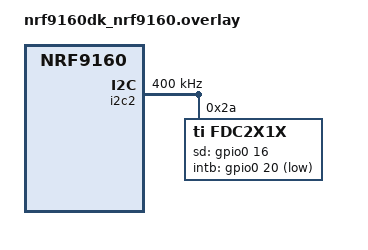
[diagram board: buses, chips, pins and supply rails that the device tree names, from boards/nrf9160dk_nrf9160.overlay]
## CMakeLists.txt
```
#
#  Copyright (c) 2020 arithmetics.io
#
#  SPDX-License-Identifier: Apache-2.0

cmake_minimum_required(VERSION 3.13.1)
find_package(Zephyr HINTS $ENV{ZEPHYR_BASE})
project(fdc2x1x)

FILE(GLOB app_sources src/*.c)
target_sources(app PRIVATE ${app_sources})
```

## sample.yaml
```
sample:
  name: fdc2x1x sample
  description: FDC2X1X sample application
tests:
  sample.sensor.fdc2x1x:
    harness: sensor
    tags: sensors
    platform_allow: nrf9160dk_nrf9160
    integration_platforms:
      - nrf9160dk_nrf9160
```

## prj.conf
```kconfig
CONFIG_LOG=y
CONFIG_I2C=y
CONFIG_SENSOR=y
CONFIG_PM_DEVICE=n
CONFIG_NEWLIB_LIBC=y
CONFIG_NEWLIB_LIBC_FLOAT_PRINTF=y

CONFIG_FDC2X1X=y
CONFIG_FDC2X1X_TRIGGER_GLOBAL_THREAD=n
```

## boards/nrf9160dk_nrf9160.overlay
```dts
/*
 * Copyright (c) 2020 arithmetics.io
 *
 * SPDX-License-Identifier: Apache-2.0
 */

&i2c2 {
	clock-frequency = <I2C_BITRATE_FAST>;
	fdc2x1x@2A {
		compatible = "ti,fdc2x1x";
		reg = <0x2A>;
		label = "FDC2X1X";
		sd-gpios = <&gpio0 16 GPIO_ACTIVE_HIGH>;
		intb-gpios = <&gpio0 20 GPIO_ACTIVE_LOW>;

		autoscan;
		deglitch = <5>;
		fref = <43360>;

		channel_0 {
			rcount = <7499>;
			settlecount = <48>;
			fref-divider = <1>;
			idrive = <10>;
			fin-sel = <2>;
			inductance = < 18 >;
		};

		channel_1 {
			rcount = <7499>;
			settlecount = <48>;
			fref-divider = <1>;
			idrive = <10>;
			fin-sel = <2>;
			inductance = <18>;
		};
	};
};
```

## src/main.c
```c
/*
 * Copyright (c) 2020 arithmetics.io
 *
 * SPDX-License-Identifier: Apache-2.0
 */

#include <zephyr.h>
#include <device.h>
#include <sys/util.h>
#include <drivers/sensor.h>
#include "drivers/sensor/fdc2x1x.h"
#include <stdio.h>

#define CH_BUF_INIT(m)          {},

K_SEM_DEFINE(sem, 0, 1);

#ifdef CONFIG_FDC2X1X_TRIGGER
static void trigger_handler(const struct device *dev,
			    struct sensor_trigger *trigger)
{
	switch (trigger->type) {
	case SENSOR_TRIG_DATA_READY:
		if (sensor_sample_fetch(dev)) {
			printk("Sample fetch error\n");
			return;
		}
		k_sem_give(&sem);
		break;
	default:
		printk("Unknown trigger\n");
	}
}
#endif

#ifdef CONFIG_PM_DEVICE
static void pm_cb(const struct device *dev,
		  int status,
		  uint32_t *state,
		  void *arg)
{
	ARG_UNUSED(dev);
	ARG_UNUSED(arg);

	switch (*state) {
	case PM_DEVICE_STATE_ACTIVE:
		printk("Enter ACTIVE_STATE ");
		break;
	case PM_DEVICE_STATE_LOW_POWER:
		printk("Enter LOW_POWER_STATE ");
		break;
	case PM_DEVICE_STATE_OFF:
		printk("Enter OFF_STATE ");
		break;
	}

	if (status) {
		printk("Fail\n");
	} else {
		printk("Success\n");
	}
}
#endif

#define DEVICE_NODE DT_COMPAT_GET_ANY_STATUS_OKAY(ti_fdc2x1x)

void main(void)
{
	struct sensor_value ch_buf[] = {
		DT_FOREACH_CHILD(DEVICE_NODE, CH_BUF_INIT)
	};

	uint8_t num_ch = ARRAY_SIZE(ch_buf);
	enum sensor_channel base;
	int i;

	const struct device *dev = DEVICE_DT_GET(DEVICE_NODE);

	if (!device_is_ready(dev)) {
		printk("Device %s is not ready\n", dev->name);
		return;
	}

#ifdef CONFIG_FDC2X1X_TRIGGER
	struct sensor_trigger trig = {
		.type = SENSOR_TRIG_DATA_READY,
		.chan = SENSOR_CHAN_ALL,
	};

	if (sensor_trigger_set(dev, &trig, trigger_handler)) {
		printk("Could not set trigger\n");
		return;
	}
#endif

#ifdef CONFIG_PM_DEVICE
	/* Testing the power modes */
	uint32_t p_state;

	p_state = PM_DEVICE_STATE_LOW_POWER;
	pm_device_state_set(dev, p_state, pm_cb, NULL);

	p_state = PM_DEVICE_STATE_OFF;
	pm_device_state_set(dev, p_state, pm_cb, NULL);

	p_state = PM_DEVICE_STATE_ACTIVE;
	pm_device_state_set(dev, p_state, pm_cb, NULL);
#endif

	while (1) {
#ifdef CONFIG_FDC2X1X_TRIGGER
		k_sem_take(&sem, K_FOREVER);
#else
		if (sensor_sample_fetch(dev) < 0) {
			printk("Sample fetch failed\n");
			return;
		}
#endif
		base = SENSOR_CHAN_FDC2X1X_FREQ_CH0;
		for (i = 0; i < num_ch; i++) {
			sensor_channel_get(dev, base++, &ch_buf[i]);
			printf("ch%d: %f MHz ", i, sensor_value_to_double(&ch_buf[i]));
		}
		printf("\n");

		base = SENSOR_CHAN_FDC2X1X_CAPACITANCE_CH0;
		for (i = 0; i < num_ch; i++) {
			sensor_channel_get(dev, base++, &ch_buf[i]);
			printf("ch%d: %f pF ", i, sensor_value_to_double(&ch_buf[i]));
		}
		printf("\n\n");


#ifdef CONFIG_PM_DEVICE
		p_state = PM_DEVICE_STATE_OFF;
		pm_device_state_set(dev, p_state, pm_cb, NULL);
		k_sleep(K_MSEC(2000));
		p_state = PM_DEVICE_STATE_ACTIVE;
		pm_device_state_set(dev, p_state, pm_cb, NULL);
#elif CONFIG_FDC2X1X_TRIGGER_NONE
		k_sleep(K_MSEC(100));
#endif
	}
}
```
